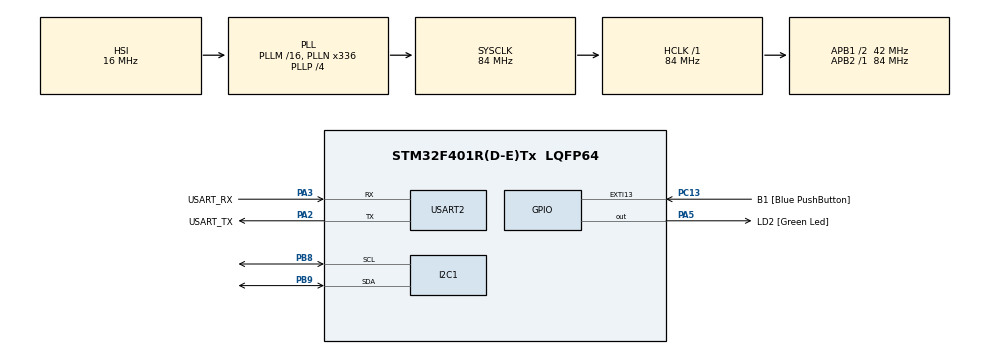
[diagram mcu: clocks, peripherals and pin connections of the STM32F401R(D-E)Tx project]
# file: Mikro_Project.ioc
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Dma.I2C1_RX.0.Direction=DMA_PERIPH_TO_MEMORY
Dma.I2C1_RX.0.FIFOMode=DMA_FIFOMODE_DISABLE
Dma.I2C1_RX.0.Instance=DMA1_Stream0
Dma.I2C1_RX.0.MemDataAlignment=DMA_MDATAALIGN_BYTE
Dma.I2C1_RX.0.MemInc=DMA_MINC_ENABLE
Dma.I2C1_RX.0.Mode=DMA_NORMAL
Dma.I2C1_RX.0.PeriphDataAlignment=DMA_PDATAALIGN_BYTE
Dma.I2C1_RX.0.PeriphInc=DMA_PINC_DISABLE
Dma.I2C1_RX.0.Priority=DMA_PRIORITY_LOW
Dma.I2C1_TX.2.Direction=DMA_MEMORY_TO_PERIPH
Dma.I2C1_TX.2.FIFOMode=DMA_FIFOMODE_DISABLE
Dma.I2C1_TX.2.Instance=DMA1_Stream7
Dma.I2C1_TX.2.MemDataAlignment=DMA_MDATAALIGN_BYTE
Dma.I2C1_TX.2.MemInc=DMA_MINC_ENABLE
Dma.I2C1_TX.2.Mode=DMA_NORMAL
Dma.I2C1_TX.2.PeriphDataAlignment=DMA_PDATAALIGN_BYTE
Dma.I2C1_TX.2.PeriphInc=DMA_PINC_DISABLE
Dma.I2C1_TX.2.Priority=DMA_PRIORITY_LOW
Dma.Request0=I2C1_RX
Dma.Request1=USART2_TX
Dma.Request2=I2C1_TX
Dma.USART2_TX.1.Direction=DMA_MEMORY_TO_PERIPH
Dma.USART2_TX.1.FIFOMode=DMA_FIFOMODE_DISABLE
Dma.USART2_TX.1.Instance=DMA1_Stream6
Dma.USART2_TX.1.MemDataAlignment=DMA_MDATAALIGN_BYTE
Dma.USART2_TX.1.MemInc=DMA_MINC_ENABLE
Dma.USART2_TX.1.Mode=DMA_NORMAL
Dma.USART2_TX.1.PeriphDataAlignment=DMA_PDATAALIGN_BYTE
Dma.USART2_TX.1.PeriphInc=DMA_PINC_DISABLE
Dma.USART2_TX.1.Priority=DMA_PRIORITY_LOW
Mcu.Family=STM32F4
Mcu.Name=STM32F401R(D-E)Tx
Mcu.Package=LQFP64
NVIC.DMA1_Stream0_IRQn=true\:0\:0\:false\:false\:true\:false\:true\:true
NVIC.DMA1_Stream6_IRQn=true\:0\:0\:false\:false\:true\:false\:true\:true
NVIC.DMA1_Stream7_IRQn=true\:0\:0\:false\:false\:true\:false\:true\:true
NVIC.I2C1_ER_IRQn=true\:0\:0\:false\:false\:true\:true\:true\:true
NVIC.I2C1_EV_IRQn=true\:0\:0\:false\:false\:true\:true\:true\:true
NVIC.PriorityGroup=NVIC_PRIORITYGROUP_4
NVIC.TIM3_IRQn=true\:0\:0\:false\:false\:true\:true\:true\:true
NVIC.USART2_IRQn=true\:0\:0\:false\:false\:true\:true\:true\:true
PA13.GPIO_Label=TMS
PA13.Mode=Trace_Asynchronous_SW
PA13.Signal=SYS_JTMS-SWDIO
PA14.GPIO_Label=TCK
PA14.Mode=Trace_Asynchronous_SW
PA14.Signal=SYS_JTCK-SWCLK
PA2.GPIO_Label=USART_TX
PA2.GPIO_Mode=GPIO_MODE_AF_PP
PA2.GPIO_PuPd=GPIO_NOPULL
PA2.GPIO_Speed=GPIO_SPEED_FREQ_LOW
PA2.Mode=Asynchronous
PA2.Signal=USART2_TX
PA3.GPIO_Label=USART_RX
PA3.GPIO_Mode=GPIO_MODE_AF_PP
PA3.GPIO_PuPd=GPIO_NOPULL
PA3.GPIO_Speed=GPIO_SPEED_FREQ_LOW
PA3.Mode=Asynchronous
PA3.Signal=USART2_RX
PA5.GPIO_Label=LD2 [Green Led]
PA5.GPIO_Mode=GPIO_MODE_OUTPUT_PP
PA5.GPIO_PuPd=GPIO_NOPULL
PA5.GPIO_Speed=GPIO_SPEED_FREQ_LOW
PA5.Signal=GPIO_Output
PB3.GPIO_Label=SWO
PB3.Mode=Trace_Asynchronous_SW
PB3.Signal=SYS_JTDO-SWO
PB8.GPIO_Pu=GPIO_PULLUP
PB8.Mode=I2C
PB8.Signal=I2C1_SCL
PB9.GPIO_Pu=GPIO_PULLUP
PB9.Mode=I2C
PB9.Signal=I2C1_SDA
PC13-ANTI_TAMP.GPIO_Label=B1 [Blue PushButton]
PC13-ANTI_TAMP.GPIO_ModeDefaultEXTI=GPIO_MODE_IT_FALLING
PC13-ANTI_TAMP.GPIO_PuPd=GPIO_NOPULL
PC13-ANTI_TAMP.Signal=GPXTI13
PC14-OSC32_IN.Mode=LSE-External-Oscillator
PC14-OSC32_IN.Signal=RCC_OSC32_IN
PC15-OSC32_OUT.Mode=LSE-External-Oscillator
PC15-OSC32_OUT.Signal=RCC_OSC32_OUT
PH0\ -\ OSC_IN.Mode=HSE-External-Clock-Source
PH0\ -\ OSC_IN.Signal=RCC_OSC_IN
PH1\ -\ OSC_OUT.Mode=HSE-External-Clock-Source
PH1\ -\ OSC_OUT.Signal=RCC_OSC_OUT
ProjectManager.HeapSize=0x200
ProjectManager.StackSize=0x400
ProjectManager.TargetToolchain=STM32CubeIDE
RCC.48MHZClocksFreq_Value=48000000
RCC.AHBFreq_Value=84000000
RCC.APB1CLKDivider=RCC_HCLK_DIV2
RCC.APB1Freq_Value=42000000
RCC.APB1TimFreq_Value=84000000
RCC.APB2Freq_Value=84000000
RCC.APB2TimFreq_Value=84000000
RCC.CortexFreq_Value=84000000
RCC.HCLKFreq_Value=84000000
RCC.HSE_VALUE=8000000
RCC.HSI_VALUE=16000000
RCC.PLLN=336
RCC.PLLP=RCC_PLLP_DIV4
RCC.PLLQ=7
RCC.SYSCLKFreq_VALUE=84000000
RCC.SYSCLKSource=RCC_SYSCLKSOURCE_PLLCLK
RCC.VCOOutputFreq_Value=336000000
TIM3.Period=99
TIM3.Prescaler=8399
USART2.VirtualMode=VM_ASYNC
VP_TIM3_VS_ClockSourceINT.Mode=Internal
board=NUCLEO-F401RE

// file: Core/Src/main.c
/* USER CODE BEGIN Header */
/**
  ******************************************************************************
  * @file           : main.c
  * @brief          : Główny plik projektu. Realizuje nieblokującą obsługę
  * czujnika MPU6050 (I2C + DMA) oraz komunikację UART z PC.
  ******************************************************************************
  */
/* USER CODE END Header */
#include "main.h"
#include "dma.h"
#include "i2c.h"
#include "tim.h"
#include "usart.h"
#include "gpio.h"

/* USER CODE BEGIN Includes */
#include "protocol.h"     // Deklaracje funkcji i stałych naszego protokołu
#include <string.h>       // Funkcje pamięciowe (np. memcpy)
#include <stdbool.h>      // Obsługa typu bool
/* USER CODE END Includes */

/* USER CODE BEGIN PTD */
/* Struktura przechowująca pojedynczą próbkę z akcelerometru.
   Używamy int16_t, ponieważ MPU6050 zwraca dane w 16-bitowym kodzie U2 ze znakiem. */
typedef struct {
  int16_t x;  // Przyspieszenie w osi X
  int16_t y;  // Przyspieszenie w osi Y
  int16_t z;  // Przyspieszenie w osi Z
} accel_sample_t;
/* USER CODE END PTD */

/* USER CODE BEGIN PD */
/* Definicje stałych sprzętowych dla czujnika MPU6050 */
#define MPU6050_ADDR_DEFAULT (0x68 << 1) // Domyślny adres I2C (przesunięty o 1 bit dla biblioteki HAL)
#define MPU6050_ADDR_ALT     (0x69 << 1) // Alternatywny adres I2C (gdy pin AD0 = 1)
#define MPU6050_PWR_MGMT_1   0x6B        // Rejestr zarządzania energią (służy m.in. do wybudzania)
#define MPU6050_ACCEL_XOUT_H 0x3B        // Adres pierwszego rejestru przechowującego wyniki pomiarów
#define MPU6050_WHO_AM_I     0x75        // Rejestr identyfikacji układu (oczekiwana wartość: 0x68)
/* USER CODE END PD */

/* USER CODE BEGIN PV */

/* --- ZMIENNE DO OBSŁUGI BUFORÓW KOŁOWYCH UART --- */
#define USART_RXBUF_LEN 1024  // Rozmiar bufora dla danych przychodzących z PC
#define USART_TXBUF_LEN 2048  // Rozmiar bufora dla danych wysyłanych do PC

uint8_t USART_RxBuf[USART_RXBUF_LEN]; // Pamięć bufora odbiorczego
uint8_t USART_TxBuf[USART_TXBUF_LEN]; // Pamięć bufora nadawczego

/* Wskaźniki buforów kołowych (volatile, ponieważ są modyfikowane wewnątrz przerwań) */
volatile uint16_t USART_RX_Empty = 0; // Wskaźnik zapisu (głowa) bufora RX
volatile uint16_t USART_RX_Busy = 0;  // Wskaźnik odczytu (ogon) bufora RX
volatile uint16_t USART_TX_Empty = 0; // Wskaźnik zapisu (głowa) bufora TX
volatile uint16_t USART_TX_Busy = 0;  // Wskaźnik odczytu (ogon) bufora TX

/* --- ZMIENNE PROJEKTOWE --- */
static uint16_t g_mpu_addr = 0;        // Przechowuje wykryty i potwierdzony adres I2C czujnika
volatile uint8_t g_mpu_init_done = 0;  // Flaga informująca o zakończeniu procesu inicjalizacji
volatile uint8_t g_mpu_init_ok   = 0;  // Flaga informująca, czy inicjalizacja zakończyła się sukcesem

/* FLAGA SYNCHRONIZACYJNA: PRZERWANIE -> PĘTLA GŁÓWNA */
volatile uint8_t g_mpu_new_data = 0;   // Ustawiana w callbacku I2C, gdy DMA zakończy odczyt próbek

/* Główny bufor cykliczny na przeliczone próbki z czujnika */
accel_sample_t accel_buf[ACCEL_BUFFER_SIZE]; // Tablica o rozmiarze 1024 próbek (zdefiniowane w protocol.h)
volatile uint16_t accel_head  = 0;           // Wskaźnik zapisu nowej próbki (głowa bufora)
volatile uint32_t accel_count = 0;           // Całkowita liczba zebranych próbek od włączenia systemu

volatile uint8_t  g_acq_enabled  = 0;    // Flaga określająca, czy proces próbkowania jest włączony (START/STOP)
volatile uint32_t g_interval_ms  = 100;  // Interwał próbkowania w milisekundach (domyślnie 100 ms)
volatile uint32_t g_tick10ms     = 0;    // Globalny licznik inkrementowany przez przerwanie Timera
volatile uint32_t g_time_base_ms = 0;    // Zmienna przechowująca referencyjny czas podany przez PC

/* Bufory robocze dla transferów DMA magistrali I2C */
static uint8_t mpu_raw[6];      // Bufor na 6 surowych bajtów pomiarowych z MPU6050
static uint8_t whoami_raw = 0;  // Bufor na odpowiedź z rejestru WHO_AM_I

/* Zmienne zarządzające stanem magistrali I2C */
static volatile uint8_t s_i2c_busy = 0; // Semafor (1 = magistrala zajęta transferem DMA)
typedef enum { I2C_OP_NONE, I2C_OP_PROBE_WHOAMI, I2C_OP_WAKE_WRITE, I2C_OP_ACCEL_READ } i2c_op_t;
static volatile i2c_op_t s_i2c_op = I2C_OP_NONE; // Kod aktualnie wykonywanej operacji I2C
static uint16_t s_probe_addr = 0;                // Tymczasowo testowany adres urządzenia

/* Zmienne do nieblokującej obsługi czasu i diody LED */
static uint32_t s_next_acq_ms = 0;      // Znak czasu, kiedy należy wykonać następny pomiar
static uint8_t  s_led_hold_active = 0;  // Flaga informująca, czy dioda LED powinna się aktualnie świecić
static uint32_t s_led_hold_until  = 0;  // Znak czasu, kiedy należy zgasić diodę LED
static uint8_t  s_mpu_led_hold_started = 0; // Zabezpieczenie przed wielokrotnym miganiem diodą przy starcie

/* USER CODE END PV */

void SystemClock_Config(void);
/* USER CODE BEGIN PFP */
static void LED_Service(void);
static void LED_OnForMs(uint32_t ms);
static void MPU6050_Init_Service(void);
static void MPU_ProcessData(void);
static void Acq_Service(void);

/* Narzędzia inline do obsługi upływu czasu (odporne na przepełnienie zmiennej) */
static inline uint32_t now_ms(void) { return HAL_GetTick(); }
static inline uint8_t time_reached_ms(uint32_t t) { return (int32_t)(now_ms() - t) >= 0; }

/* Funkcje wyzwalające transfery I2C przez DMA */
static uint8_t I2C_Start_WhoAmI_Read(uint16_t addr);
static uint8_t I2C_Start_Wake_Write(uint16_t addr);
static uint8_t I2C_Start_Accel_Read(uint16_t addr);
/* USER CODE END PFP */

/* USER CODE BEGIN 0 */

/* --- FUNKCJA ODCZYTU Z UARTA (DLA PĘTLI GŁÓWNEJ) --- */
uint8_t USART_kbhit(){
	if(USART_RX_Empty==USART_RX_Busy){
		return 0;
	}else{
		return 1;
	}
}

/* Pobiera jeden bajt z cyklicznego bufora odbiorczego */
int16_t USART_getchar(void)
{
    // Jeśli wskaźnik zapisu różni się od wskaźnika odczytu, bufor nie jest pusty
    if (USART_RX_Empty != USART_RX_Busy)
    {
        uint8_t tmp = USART_RxBuf[USART_RX_Busy]; // Pobranie najstarszego bajtu
        USART_RX_Busy++;                          // Przesunięcie wskaźnika odczytu

        // Obsługa zawijania indeksu (circular buffer)
        if (USART_RX_Busy >= USART_RXBUF_LEN) USART_RX_Busy = 0;
        return tmp; // Zwrócenie pobranego bajtu
    }
    return -1; // Brak nowych danych
}

/* --- FUNKCJE OBSŁUGI PRZERWAŃ UART --- */

/* Callback wywoływany przez sprzęt po pomyślnym odebraniu 1 bajtu przez UART */
void HAL_UART_RxCpltCallback(UART_HandleTypeDef *huart){
	 if(huart==&huart2){
		 USART_RX_Empty++; // Inkrementacja wskaźnika zapisu nowej danej
		 if(USART_RX_Empty>=USART_RXBUF_LEN)USART_RX_Empty=0; // Zawinięcie bufora

         // Zlecenie sprzętowi nasłuchu kolejnego bajtu do nowej pozycji w buforze
		 HAL_UART_Receive_IT(&huart2,&USART_RxBuf[USART_RX_Empty],1);
	 }
}

/* Callback wywoływany przez sprzęt po całkowitym wysłaniu 1 bajtu przez UART */
void HAL_UART_TxCpltCallback(UART_HandleTypeDef *huart){
   if(huart==&huart2){
       // Sprawdzenie, czy w buforze nadawczym znajdują się jeszcze dane do wysłania
	   if(USART_TX_Empty!=USART_TX_Busy){
		   uint8_t tmp=USART_TxBuf[USART_TX_Busy]; // Pobranie bajtu z bufora
		   USART_TX_Busy++; // Przesunięcie wskaźnika odczytu
		   if(USART_TX_Busy >= USART_TXBUF_LEN)USART_TX_Busy=0;

           // Wysłanie pobranego bajtu. Po jego wysłaniu, przerwanie wywoła się ponownie.
		   HAL_UART_Transmit_IT(&huart2, &tmp, 1);
	   }
   }
}

/* --- FUNKCJE OBSŁUGI PRZERWAŃ I2C (ZOPTYMALIZOWANE) --- */

/* Callback wywoływany po zakończeniu transferu odbierania danych przez DMA z magistrali I2C */
void HAL_I2C_MemRxCpltCallback(I2C_HandleTypeDef *hi2c)
{
  if (s_i2c_op == I2C_OP_ACCEL_READ) {
      // Zakończono pobieranie próbek - ustawiamy flagę dla pętli głównej
      g_mpu_new_data = 1;
  }
  else if (s_i2c_op == I2C_OP_PROBE_WHOAMI) {
      // Potwierdzono obecność układu - zapisujemy jego adres sprzętowy
      g_mpu_addr = s_probe_addr;
  }

  // Zakończenie operacji: wyzerowanie typu operacji i zwolnienie semafora
  s_i2c_op = I2C_OP_NONE;
  s_i2c_busy = 0;
}

/* Callback wywoływany po zakończeniu transferu wysyłania danych przez DMA z magistrali I2C */
void HAL_I2C_MemTxCpltCallback(I2C_HandleTypeDef *hi2c)
{
  if (s_i2c_op == I2C_OP_WAKE_WRITE) {
    // Rejestr wybudzania został poprawnie zapisany
    g_mpu_init_done = 1;
    g_mpu_init_ok = 1;

    // Potwierdzenie wizualne (dioda LED świeci przez 2 sekundy po inicjalizacji)
    if (!s_mpu_led_hold_started) {
        s_mpu_led_hold_started = 1;
        LED_OnForMs(2000);
    }
  }

  // Zwolnienie semafora
  s_i2c_op = I2C_OP_NONE;
  s_i2c_busy = 0;
}

/* Callback wywoływany, gdy na magistrali I2C wystąpi błąd (np. NACK, utrata arbitrażu) */
void HAL_I2C_ErrorCallback(I2C_HandleTypeDef *hi2c)
{
  // W przypadku błędu zwalniamy zasoby, aby zapobiec deadlockom
  s_i2c_op = I2C_OP_NONE;
  s_i2c_busy = 0;
  g_mpu_init_ok = 0; // Oznaczenie braku komunikacji z czujnikiem
}

/* --- LOGIKA BIZNESOWA: PRZETWARZANIE WYNIKÓW --- */

/* Funkcja uruchamiana w pętli głównej. Przelicza surowe bajty na czytelne wartości. */
static void MPU_ProcessData(void)
{
    if (g_mpu_new_data) // Wykonaj tylko, jeśli przerwanie DMA zgłosiło kompletność ramki
    {
        g_mpu_new_data = 0; // Reset flagi do obsługi kolejnych pomiarów

        // MPU6050 przesyła dane w konwencji Big-Endian (MSB najpierw).
        // Mikrokontroler ARM pracuje w trybie Little-Endian.
        // Wykonujemy przesunięcie bitowe starszego bajtu i logiczne OR z młodszym bajtem.
        accel_buf[accel_head].x = (int16_t)((mpu_raw[0] << 8) | mpu_raw[1]);
        accel_buf[accel_head].y = (int16_t)((mpu_raw[2] << 8) | mpu_raw[3]);
        accel_buf[accel_head].z = (int16_t)((mpu_raw[4] << 8) | mpu_raw[5]);

        // Aktualizacja wskaźnika głowy bufora z zachowaniem właściwości kołowych (modulo)
        accel_head = (accel_head + 1) % ACCEL_BUFFER_SIZE;
        accel_count++; // Inkrementacja globalnego licznika zebranych próbek

        // Wizualna sygnalizacja pracy (zmiana stanu LED przy każdej udanej próbce)
        HAL_GPIO_TogglePin(LD2_GPIO_Port, LD2_Pin);
    }
}

/* --- POZOSTAŁE FUNKCJE --- */

/* Callback wywoływany przez sprzętowy timer. Buduje podstawę czasu dla aplikacji. */
void HAL_TIM_PeriodElapsedCallback(TIM_HandleTypeDef *htim)
{
  if (htim->Instance == TIM3) g_tick10ms++;
}

/* Włącza diodę LED i zapamiętuje czas jej wyłączenia (implementacja nieblokująca) */
static void LED_OnForMs(uint32_t ms)
{
  HAL_GPIO_WritePin(LD2_GPIO_Port, LD2_Pin, GPIO_PIN_SET);
  s_led_hold_active = 1;
  s_led_hold_until  = now_ms() + ms;
}

/* Sprawdza warunki wyłączenia diody LED (wywoływane cyklicznie w pętli głównej) */
static void LED_Service(void)
{
  if (s_led_hold_active && time_reached_ms(s_led_hold_until)) {
    s_led_hold_active = 0;
    HAL_GPIO_WritePin(LD2_GPIO_Port, LD2_Pin, GPIO_PIN_RESET);
  }
}

/* --- INICJOWANIE TRANSFERÓW DMA I2C --- */

/* Wysyła zapytanie do czujnika w celu odczytu jego ID */
static uint8_t I2C_Start_WhoAmI_Read(uint16_t addr)
{
  if (s_i2c_busy) return 0; // Jeśli magistrala zajęta, zrezygnuj
  s_i2c_busy = 1; s_i2c_op = I2C_OP_PROBE_WHOAMI;

  if (HAL_I2C_Mem_Read_DMA(&hi2c1, addr, MPU6050_WHO_AM_I, 1, &whoami_raw, 1) != HAL_OK) {
    s_i2c_busy = 0; return 0;
  }
  return 1; // Żądanie dodane do kolejki sprzętowej pomyślnie
}

/* Wpisuje wartość '0' do rejestru zarządzania energią, wybudzając układ */
static uint8_t I2C_Start_Wake_Write(uint16_t addr)
{
  if (s_i2c_busy) return 0;
  s_i2c_busy = 1; s_i2c_op = I2C_OP_WAKE_WRITE;
  static uint8_t data = 0; // Wartość 0 dla rejestru PWR_MGMT_1 oznacza działanie ciągłe

  if (HAL_I2C_Mem_Write_DMA(&hi2c1, addr, MPU6050_PWR_MGMT_1, 1, &data, 1) != HAL_OK) {
    s_i2c_busy = 0; return 0;
  }
  return 1;
}

/* Żąda odczytu 6 bajtów danych (rejestry X_H, X_L, Y_H, Y_L, Z_H, Z_L) */
static uint8_t I2C_Start_Accel_Read(uint16_t addr)
{
  if (s_i2c_busy) return 0;
  s_i2c_busy = 1; s_i2c_op = I2C_OP_ACCEL_READ;

  if (HAL_I2C_Mem_Read_DMA(&hi2c1, addr, MPU6050_ACCEL_XOUT_H, 1, mpu_raw, 6) != HAL_OK) {
    s_i2c_busy = 0; return 0;
  }
  return 1;
}

/* --- LOGIKA URUCHAMIANIA I KONTROLI CZUJNIKA --- */

/* Maszyna stanów inicjalizująca czujnik (uruchamiana cyklicznie) */
static void MPU6050_Init_Service(void)
{
  // Deklaracja stanów inicjalizacji. State jest typu static, więc pamięta swój stan między wywołaniami.
  static enum { START, TRY_68, WAIT_68, TRY_69, WAIT_69, WAKE, WAIT_DONE, FAILED, DONE } state = START;

  if (state == DONE || state == FAILED) return; // Jeśli proces się zakończył, funkcja nie robi już nic

  switch(state) {
    case START: g_mpu_init_ok = 0; state = TRY_68; break; // Inicjalizacja początku maszyny stanów

    // Krok 1: Próba kontaktu na domyślnym adresie I2C
    case TRY_68: s_probe_addr = MPU6050_ADDR_DEFAULT; if(I2C_Start_WhoAmI_Read(s_probe_addr)) state = WAIT_68; break;
    case WAIT_68: if(!s_i2c_busy) { if(g_mpu_addr) state = WAKE; else state = TRY_69; } break;

    // Krok 2: Próba kontaktu na alternatywnym adresie I2C (jeśli Krok 1 zawiódł)
    case TRY_69: s_probe_addr = MPU6050_ADDR_ALT; if(I2C_Start_WhoAmI_Read(s_probe_addr)) state = WAIT_69; break;
    case WAIT_69: if(!s_i2c_busy) { if(g_mpu_addr) state = WAKE; else state = FAILED; } break;

    // Krok 3: Wybudzenie urządzenia
    case WAKE: if(I2C_Start_Wake_Write(g_mpu_addr)) state = WAIT_DONE; else state = FAILED; break;
    case WAIT_DONE: if(g_mpu_init_ok) state = DONE; else if(!s_i2c_busy) state = FAILED; break;

    default: state = FAILED; break;
  }
}

/* Realizuje harmonogram pobierania próbek z czujnika w czasie */
static void Acq_Service(void)
{
  // Blokada: Brak zezwolenia (komenda STOP z PC) lub czujnik niezainicjalizowany poprawnie
  if (!g_acq_enabled || !g_mpu_init_ok) return;
  // Blokada: Upłynęło za mało czasu od ostatniego pomiaru
  if (!time_reached_ms(s_next_acq_ms)) return;

  // Zabezpieczenie na wypadek ustawienia interwału 0 (ograniczenie dolne do 1ms)
  uint32_t interval = g_interval_ms;
  if (interval == 0) interval = 1;

  // Zapisz czas kolejnego żądanego pomiaru
  s_next_acq_ms = now_ms() + interval;

  // Zleć kontrolerowi DMA odczyt danych z magistrali
  I2C_Start_Accel_Read(g_mpu_addr);
}

/* USER CODE END 0 */

int main(void)
{

  /* MCU Configuration--------------------------------------------------------*/

  /* Reset of all peripherals, Initializes the Flash interface and the Systick. */
  HAL_Init();

  /* Configure the system clock */
  SystemClock_Config();

  /* Initialize all configured peripherals */
  MX_GPIO_Init();
  MX_DMA_Init();
  MX_I2C1_Init();
  MX_USART2_UART_Init();
  MX_TIM3_Init();
  /* USER CODE BEGIN 2 */
  /* Inicjalizacja maszyny stanów parsera UART */
  Protocol_Init();

  /* Uruchomienie Timera sprzętowego wyzwalającego przerwania do celów odliczania czasu */
  HAL_TIM_Base_Start_IT(&htim3);

  /* Pierwsze wyzwolenie odbioru przez UART. Po odebraniu 1 bajtu funkcja callback wywoła kolejne */
  HAL_UART_Receive_IT(&huart2, &USART_RxBuf[USART_RX_Empty], 1);

  /* Ustalamy pierwsze wyzwolenie odczytu z czujnika z 50 ms opóźnieniem, dając mu czas na ustabilizowanie zasilania */
  s_next_acq_ms = now_ms() + 50;
  /* USER CODE END 2 */

  /* Infinite loop */
  /* USER CODE BEGIN WHILE */
  while (1)
  {
    MPU6050_Init_Service(); // Sprawdza postęp inicjalizacji sprzętu
    Acq_Service();          // Wyzwala transfer DMA jeśli minął odpowiedni czas
    MPU_ProcessData();      // Jeżeli pobrano próbki (flaga ustawiona w callbacku), przelicza je na liczby
    LED_Service();          // Analizuje warunki czasowe dla zgaszenia diody

    /* Analiza wszystkich bajtów zebranych asynchronicznie w buforze RX UART */
    int16_t ch;
    while ((ch = USART_getchar()) != -1) {
       Protocol_ParseByte((uint8_t)ch); // Przekazanie bajtu do analizatora ramek protokołu
    }

    /* Wait For Interrupt: usypia rdzeń procesora w oczekiwaniu na zdarzenia sprzętowe.
       Zakomentowane (//), aby uniknąć błędu z programatorem "Target is not responding".
       Odkomentuj na sam koniec po zdebugowaniu projektu. */
    // __WFI();
    /* USER CODE END WHILE */

  }
}

void SystemClock_Config(void)
{
  RCC_OscInitTypeDef RCC_OscInitStruct = {0};
  RCC_ClkInitTypeDef RCC_ClkInitStruct = {0};

  /** Configure the main internal regulator output voltage
  */
  __HAL_RCC_PWR_CLK_ENABLE();
  __HAL_PWR_VOLTAGESCALING_CONFIG(PWR_REGULATOR_VOLTAGE_SCALE2);

  /** Initializes the RCC Oscillators according to the specified parameters
  * in the RCC_OscInitTypeDef structure.
  */
  RCC_OscInitStruct.OscillatorType = RCC_OSCILLATORTYPE_HSI;
  RCC_OscInitStruct.HSIState = RCC_HSI_ON;
  RCC_OscInitStruct.HSICalibrationValue = RCC_HSICALIBRATION_DEFAULT;
  RCC_OscInitStruct.PLL.PLLState = RCC_PLL_ON;
  RCC_OscInitStruct.PLL.PLLSource = RCC_PLLSOURCE_HSI;
  RCC_OscInitStruct.PLL.PLLM = 16;
  RCC_OscInitStruct.PLL.PLLN = 336;
  RCC_OscInitStruct.PLL.PLLP = RCC_PLLP_DIV4;
  RCC_OscInitStruct.PLL.PLLQ = 7;
  if (HAL_RCC_OscConfig(&RCC_OscInitStruct) != HAL_OK)
  {
    Error_Handler();
  }

  /** Initializes the CPU, AHB and APB buses clocks
  */
  RCC_ClkInitStruct.ClockType = RCC_CLOCKTYPE_HCLK|RCC_CLOCKTYPE_SYSCLK
                              |RCC_CLOCKTYPE_PCLK1|RCC_CLOCKTYPE_PCLK2;
  RCC_ClkInitStruct.SYSCLKSource = RCC_SYSCLKSOURCE_PLLCLK;
  RCC_ClkInitStruct.AHBCLKDivider = RCC_SYSCLK_DIV1;
  RCC_ClkInitStruct.APB1CLKDivider = RCC_HCLK_DIV2;
  RCC_ClkInitStruct.APB2CLKDivider = RCC_HCLK_DIV1;

  if (HAL_RCC_ClockConfig(&RCC_ClkInitStruct, FLASH_LATENCY_2) != HAL_OK)
  {
    Error_Handler();
  }
}

void Error_Handler(void)
{
  __disable_irq();
  while (1)
  {
  }
}
